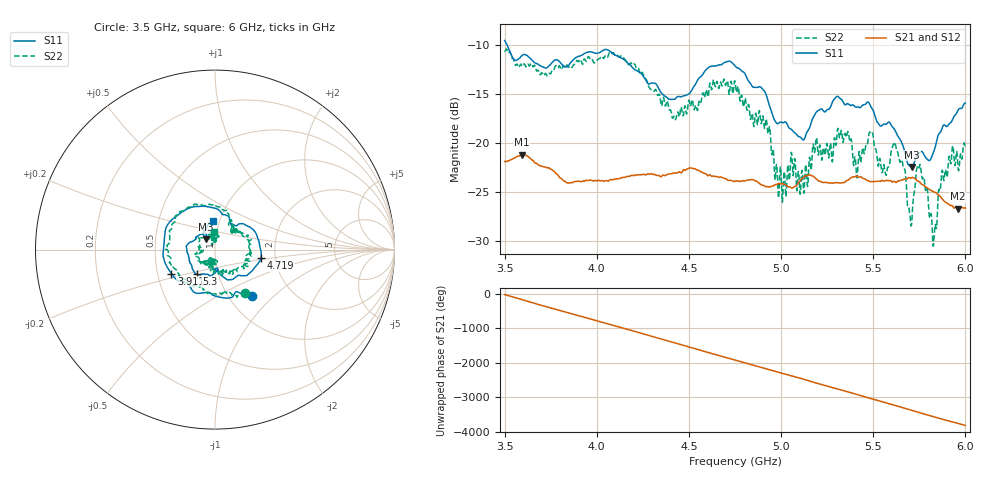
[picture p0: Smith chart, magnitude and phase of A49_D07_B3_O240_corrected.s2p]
! Created with skrf 1.9.0 (http://scikit-rf.org).
# Hz S RI R 50.0
!freq ReS11 ImS11 ReS21 ImS21 ReS12 ImS12 ReS22 ImS22
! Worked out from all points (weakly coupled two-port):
!   1601 points, 3.5 GHz to 6 GHz, reference 50 ohm
!   highest |S21| = -21.18 dB at 3.594 GHz (marker M1); lowest = -26.7 dB at 5.958 GHz (marker M2)
!   lowest |S11| = -22.4 dB at 5.711 GHz (marker M3), VSWR 1.16, Z = 45 + j5.13 ohm
!   |S11| at or under -10 dB: 3.513 GHz to end of sweep
!   |S22| runs from -30.5 to -10.4 dB; largest |S21 - S12| = 0.00093
!   S11 on the Smith chart (normalised r, x): 3.5 GHz: 1.27, -0.75; 3.911 GHz: 0.59, -0.17; 4.719 GHz: 1.68, -0.17; 5.3 GHz: 0.79, -0.22; 6 GHz: 0.93, +0.31
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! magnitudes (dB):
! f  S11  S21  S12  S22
! 3.5 GHz  -9.6  -21.9  -21.9  -10.7
! 3.594 GHz  -11.1  -21.2  -21.2  -12.2
! 3.911 GHz  -11.1  -23.9  -23.9  -11.5
! 3.917 GHz  -11.1  -24.0  -23.9  -11.8
! 4.136 GHz  -11.4  -23.5  -23.5  -11.1
! 4.334 GHz  -14.4  -23.3  -23.2  -15.1
! 4.42 GHz  -15.6  -23.1  -23.1  -17.3
! 4.719 GHz  -11.7  -23.8  -23.9  -15.1
! 4.75 GHz  -12.2  -23.9  -23.8  -13.8
! 4.928 GHz  -15.7  -24.4  -24.4  -19.0
! 4.997 GHz  -17.9  -24.2  -24.1  -22.4
! 5.167 GHz  -17.7  -23.4  -23.3  -21.8
! 5.3 GHz  -15.3  -24.0  -24.0  -20.0
! 5.487 GHz  -16.3  -23.9  -23.9  -19.0
! 5.584 GHz  -17.9  -23.8  -23.8  -22.4
! 5.622 GHz  -18.9  -24.0  -24.0  -20.3
! 5.711 GHz  -22.4  -23.5  -23.5  -27.5
! 5.748 GHz  -21.0  -23.9  -23.9  -22.5
! 5.833 GHz  -20.6  -25.0  -25.0  -28.9
! 5.867 GHz  -18.8  -25.5  -25.5  -24.1
! 5.958 GHz  -16.8  -26.7  -26.6  -22.0
! 6 GHz  -15.9  -26.6  -26.6  -20.3
